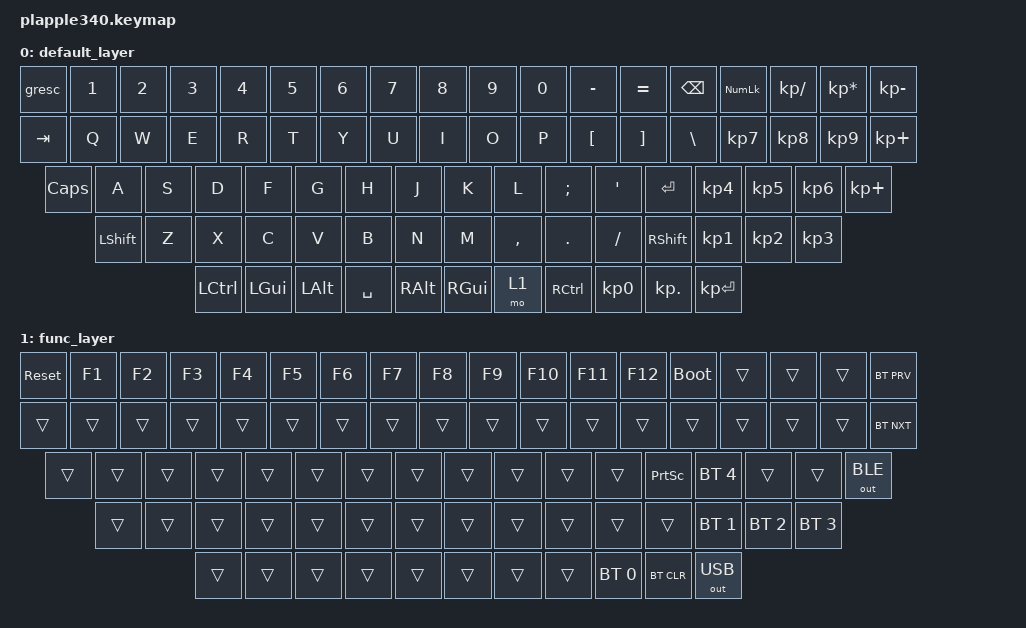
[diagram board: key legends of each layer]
/*
 * Copyright (c) 2021 Martin Knobel
 *
 * SPDX-License-Identifier: MIT
 */

#include <behaviors.dtsi>
#include <dt-bindings/zmk/keys.h>
#include <dt-bindings/zmk/outputs.h>
#include <dt-bindings/zmk/bt.h>
#include <dt-bindings/zmk/ext_power.h>

/ {
	keymap {
		compatible = "zmk,keymap";
		
		default_layer {
// ----------------------------------------------------------------------------------------------------------------------
// | ESC |  1  |  2  |  3  |  4  |  5  |  6  |  7  |  8  |  9  |  0  |  -  |  =  |   BKSP   |   | NUM |  /  |  *  |  -  |
// | TAB  |  Q  |  W  |  E  |  R  |  T  |  Y  |  U  |  I  |  O  |  P  |  [  |  ]  |   "|"   |   |  7  |  8  |  9  |  +  |
// | CAPS |  A  |  S  |  D  |  F  |  G  |  H  |  J  |  K  |  L  |  ;  |  '  |      ENTER    |   |  4  |  5  |  6  |  +  |
// |  SHIFT  |  Z  |  X  |  C  |  V  |  B  |  N  |  M  |  ,  |  .  |  /  |      SHIFT       |   |  1  |  2  |  3  |     |
// |  CTL  |  WIN  |  ALT  |            SPACE              |  ALT  |  WIN  |   FN   |  CTL  |   |     0     |  .  | Ent |
// ----------------------------------------------------------------------------------------------------------------------
			bindings = <
	&gresc  &kp N1 &kp N2 &kp N3 &kp N4 &kp N5 &kp N6 &kp N7 &kp N8 &kp N9 &kp N0 &kp MINUS &kp EQUAL  &kp BSPC		&kp KP_NUM &kp KP_DIVIDE &kp KP_MULTIPLY &kp KP_MINUS
	&kp TAB  &kp Q  &kp W  &kp E  &kp R  &kp T  &kp Y  &kp U  &kp I  &kp O  &kp P  &kp LBKT  &kp RBKT  &kp BSLH		&kp KP_N7  &kp KP_N8    &kp KP_N9     &kp KP_PLUS
	&kp CLCK  &kp A  &kp S  &kp D  &kp F  &kp G  &kp H  &kp J  &kp K  &kp L  &kp SEMI &kp SQT           &kp RET		&kp KP_N4  &kp KP_N5    &kp KP_N6     &kp KP_PLUS
	&kp LSHFT   &kp Z  &kp X  &kp C  &kp V  &kp B  &kp N  &kp M  &kp COMMA &kp DOT &kp FSLH           &kp RSHFT		&kp KP_N1  &kp KP_N2    &kp KP_N3
	&kp LCTRL &kp LGUI &kp LALT             &kp SPACE                     &kp RALT  &kp RGUI &mo 1   &kp RCTRL		&kp KP_N0		    &kp KP_DOT    &kp KP_ENTER
			>;
		};

		func_layer {
// -----------------------------------------------------------------------------------------------------------------------------------------------
// | rst |  F1  |  F2  |  F3  |  F4  |  F5  |  F6  |  F7  |  F8  |  F9  |  F10  |  F11  |  F12  |bootldr|   |  NUM |    /     |   *  |   BT PREV |
// |  TAB  |  Q  |  W  |  E  |  R  |  T  |  Y  |  U  |  I  |  O  |  P  |  [  |  ]  |   "|"   |  			|  7   |     8    |   9  |   BT NXT  |
// |  Mo 1 |  A  |  S  |  D  |  F  |  G  |  left  |  down  |  up  |  right  |  ;  |  '  | prntSCR?   |      | BT 4 |     5    |   6  |   BT OUT  |
// |  SHIFT  |  Z  |  X  |  C  |  V  |  B  |  N  |  M  |  ,  |  .  |  /  |      SHIFT       |   			| BT 1 |    BT 2  | BT 3 |           |
// |  CTL  |  WIN  |  ALT  |            SPACE              |  ALT  |  WIN  |  MO(1) |  CTL  |   			|    BT 0    |  Out USB  | USB OUT   |
// -----------------------------------------------------------------------------------------------------------------------------------------------
			bindings = <
	&sys_reset  &kp F1   &kp F2    &kp F3  &kp F4 &kp F5  &kp F6  &kp F7   &kp F8 &kp F9 &kp F10 &kp F11 &kp F12 &bootloader &trans				&trans   		&trans 		 &bt BT_PRV
	&trans  &trans   &trans    &trans  &trans   &trans &trans &trans  &trans   &trans   &trans   &trans  &trans &trans   &trans    			&trans     		&trans    	 &bt BT_NXT
	&trans  &trans   &trans    &trans  &trans   &trans &trans &trans &trans  &trans   &trans   &trans   &kp PSCRN			 &bt BT_SEL 4  		&trans    		&trans    	 &out OUT_BLE
	&trans  &trans   &trans    &trans   &trans &trans     &trans    &trans    &trans   &trans   &trans &trans			 &bt BT_SEL 1  		&bt BT_SEL 2  	&bt BT_SEL 3 
	&trans  &trans   &trans                &trans          &trans      &trans      &trans   &trans						 		&bt BT_SEL 0		  &bt BT_CLR  	     &out OUT_USB
			>;
		};
	};
};
